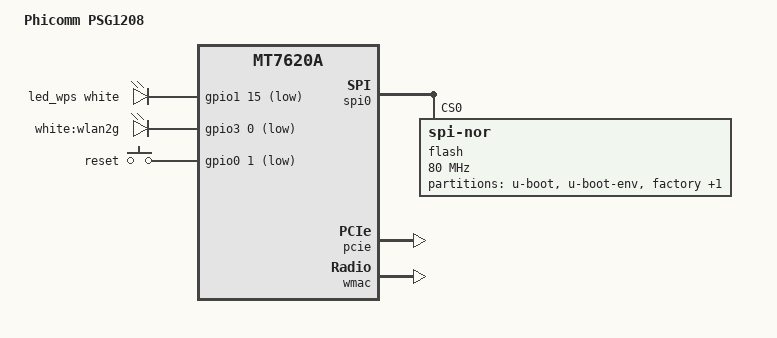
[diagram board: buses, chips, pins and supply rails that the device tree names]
#include "mt7620a.dtsi"

#include <dt-bindings/gpio/gpio.h>
#include <dt-bindings/input/input.h>
#include <dt-bindings/leds/common.h>

/ {
	compatible = "phicomm,psg1208", "ralink,mt7620a-soc";
	model = "Phicomm PSG1208";

	aliases {
		led-boot = &led_wps;
		led-failsafe = &led_wps;
		led-running = &led_wps;
		led-upgrade = &led_wps;
	};

	leds {
		compatible = "gpio-leds";

		led_wps: wps {
			function = LED_FUNCTION_WPS;
			color = <LED_COLOR_ID_WHITE>;
			gpios = <&gpio1 15 GPIO_ACTIVE_LOW>;
		};

		wlan {
			label = "white:wlan2g";
			gpios = <&gpio3 0 GPIO_ACTIVE_LOW>;
		};
	};

	keys {
		compatible = "gpio-keys";

		reset {
			label = "reset";
			gpios = <&gpio0 1 GPIO_ACTIVE_LOW>;
			linux,code = <KEY_RESTART>;
		};
	};
};

&gpio1 {
	status = "okay";
};

&gpio3 {
	status = "okay";
};

&spi0 {
	status = "okay";

	flash@0 {
		compatible = "jedec,spi-nor";
		reg = <0>;
		spi-max-frequency = <80000000>;
		m25p,fast-read;

		partitions {
			compatible = "fixed-partitions";
			#address-cells = <1>;
			#size-cells = <1>;

			partition@0 {
				label = "u-boot";
				reg = <0x0 0x30000>;
				read-only;
			};

			partition@30000 {
				label = "u-boot-env";
				reg = <0x30000 0x10000>;
				read-only;
			};

			partition@40000 {
				label = "factory";
				reg = <0x40000 0x10000>;
				read-only;

				nvmem-layout {
					compatible = "fixed-layout";
					#address-cells = <1>;
					#size-cells = <1>;

					eeprom_factory_0: eeprom@0 {
						reg = <0x0 0x200>;
					};

					eeprom_factory_8000: eeprom@8000 {
						reg = <0x8000 0x200>;
					};

					macaddr_factory_4: macaddr@4 {
						reg = <0x4 0x6>;
					};
				};
			};

			partition@50000 {
				compatible = "denx,uimage";
				label = "firmware";
				reg = <0x50000 0x7b0000>;
			};
		};
	};
};

&state_default {
	gpio {
		groups = "i2c", "spi refclk", "wled";
		function = "gpio";
	};
};

&ethernet {
	pinctrl-names = "default";
	pinctrl-0 = <&ephy_pins>;

	nvmem-cells = <&macaddr_factory_4>;
	nvmem-cell-names = "mac-address";

	mediatek,portmap = "llllw";
};

&pcie {
	status = "okay";
};

&pcie0 {
	mt76@0,0 {
		reg = <0x0000 0 0 0 0>;
		nvmem-cells = <&eeprom_factory_8000>;
		nvmem-cell-names = "eeprom";
		ieee80211-freq-limit = <5000000 6000000>;
	};
};

&wmac {
	nvmem-cells = <&eeprom_factory_0>;
	nvmem-cell-names = "eeprom";
};
